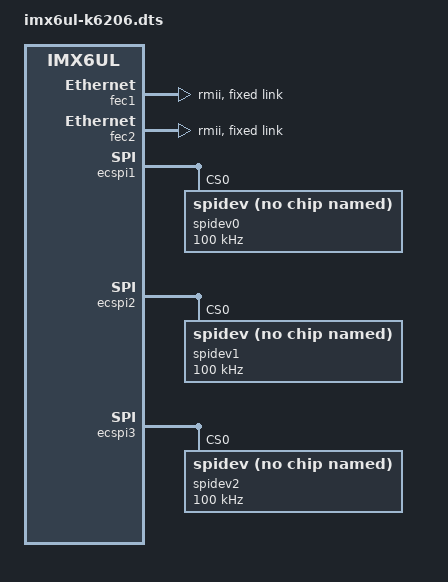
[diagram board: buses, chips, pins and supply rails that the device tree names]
#include "imx6ul-14x14-evk.dts"

/ {

	sound {
	      status = "disabled";
	};

	spi4 {
	     status = "disabled";
	};
};



&fec1 {
	pinctrl-names = "default";
	pinctrl-0 = <&pinctrl_enet1>;
	phy-mode = "rmii";
	status = "okay";

	fixed-link {
		speed = <100>;
		full-duplex;
		pause;
		asym-pause;
	};
};

&fec2 {
	pinctrl-names = "default";
	pinctrl-0 = <&pinctrl_enet2>;
	phy-mode = "rmii";
	status = "okay";
	
	fixed-link {
		speed = <100>;
		full-duplex;
		pause;
		asym-pause;
	};
};


&ecspi1 {
	fsl,spi-num-chipselects = <1>;
	pinctrl-names = "default";
	pinctrl-0 = <&pinctrl_spi1>;
	status = "okay";

	spidev0: spidev@0 {
		spi-max-frequency = <100000>;
		reg = <0 0>;
                compatible = "rohm,dh2228fv";
	};
};

&ecspi2 {
	fsl,spi-num-chipselects = <1>;
	pinctrl-names = "default";
	pinctrl-0 = <&pinctrl_spi2>;
	status = "okay";

	spidev1: spidev@1 {
		spi-max-frequency = <100000>;
		reg = <0 1>;
                compatible = "rohm,dh2228fv";
	};
};

&ecspi3 {
	fsl,spi-num-chipselects = <1>;
	pinctrl-names = "default";
	pinctrl-0 = <&pinctrl_spi3>;
	status = "okay";

	spidev2: spidev@2 {
		spi-max-frequency = <100000>;
		reg = <0 2>;
                compatible = "rohm,dh2228fv";
	};
};

&ecspi4 {
	status = "disabled";
};

&sim2 {
	status = "disabled";
};

&sai2 {
	status = "disabled";
};

&pxp {
	status = "disabled";
};

&flexcan1 {
	status = "disabled";
};

&flexcan2 {
	status = "disabled";
};

&i2c1 {
	status = "disabled";
};

&i2c2 {
	status = "disabled";
};


